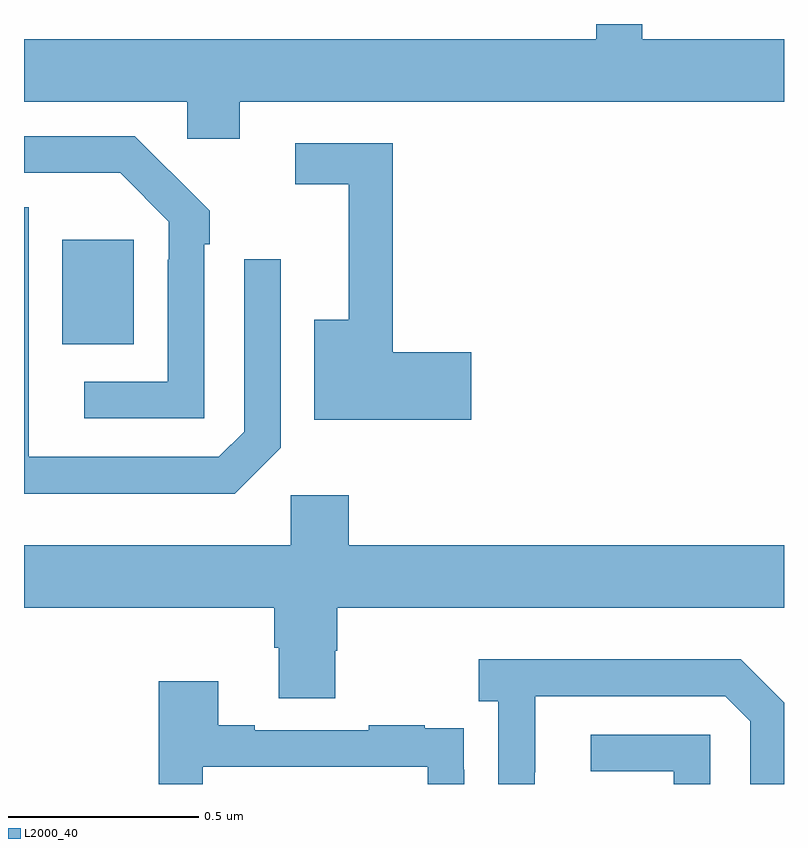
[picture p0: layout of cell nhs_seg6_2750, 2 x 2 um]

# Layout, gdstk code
import gdstk
lib = gdstk.Library(unit=1e-6, precision=1e-09)
def R(c, l, rs):  # rectangles x0, y0, x1, y1
    for r in rs: c.add(gdstk.rectangle(r[:2], r[2:], *l))
def P(c, l, *ps):  # polygons
    for p in ps: c.add(gdstk.Polygon(p, *l))
L2000_40 = (2000, 40)

nhs_seg6_2750 = lib.new_cell('nhs_seg6_2750')
R(nhs_seg6_2750, L2000_40, [(147.101,986.657,147.289,986.932)])
P(nhs_seg6_2750, L2000_40, [(147.568,987.296),(149,987.296),(149,987.46),(148.627,987.46),(148.627,987.5),(148.506,987.5),(148.506,987.46),(147,987.46),(147,987.296),(147.429,987.296),(147.429,987.198),(147.568,987.198)],
  [(147.474,986.921),(147.489,986.921),(147.489,987.009),(147.384,987.114),(147.383,987.113),(147.292,987.204),(147,987.204),(147,987.108),(147.253,987.108),(147.381,986.979),(147.381,986.879),(147.378,986.879),(147.378,986.559),(147.159,986.559),(147.159,986.463),(147.474,986.463)],
  [(148.177,986.636),(147.971,986.636),(147.971,987.186),(147.714,987.186),(147.714,987.078),(147.854,987.078),(147.854,986.722),(147.764,986.722),(147.764,986.458),(148.177,986.458)],
  [(147.675,986.385),(147.675,986.881),(147.579,986.881),(147.579,986.427),(147.513,986.361),(147.013,986.361),(147.013,986.561),(147.012,986.561),(147.012,987.018),(147,987.018),(147,986.264),(147.554,986.264)],
  [(147.819,985.851),(147.824,985.851),(147.824,985.964),(149,985.964),(149,986.128),(147.854,986.128),(147.854,986.26),(147.702,986.26),(147.702,986.128),(147,986.128),(147,985.964),(147.659,985.964),(147.659,985.858),(147.671,985.858),(147.671,985.726),(147.819,985.726)],
  [(148.344,985.531),(148.345,985.531),(148.345,985.731),(148.845,985.731),(148.911,985.665),(148.911,985.5),(149,985.5),(149,985.714),(148.886,985.828),(148.197,985.828),(148.197,985.718),(148.248,985.718),(148.248,985.5),(148.344,985.5)],
  [(147.471,985.545),(148.062,985.545),(148.062,985.5),(148.158,985.5),(148.158,985.538),(148.157,985.538),(148.157,985.647),(148.055,985.647),(148.055,985.654),(147.907,985.654),(147.907,985.641),(147.607,985.641),(147.607,985.654),(147.511,985.654),(147.511,985.771),(147.355,985.771),(147.355,985.5),(147.471,985.5)],
  [(148.806,985.629),(148.491,985.629),(148.491,985.533),(148.71,985.533),(148.71,985.5),(148.806,985.5)])

lib.write_gds('nhs_seg6_2750.gds')
